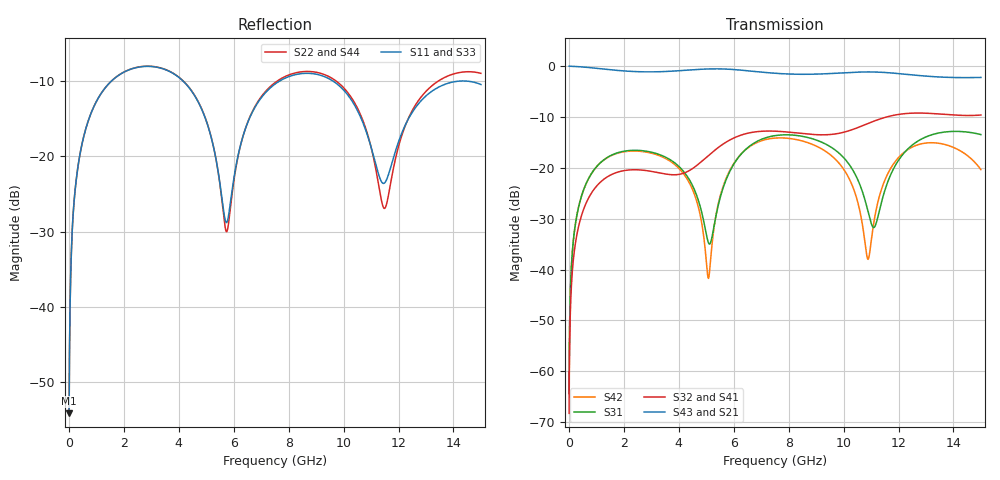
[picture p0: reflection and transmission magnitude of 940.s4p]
! Created with skrf 1.8.0 (http://scikit-rf.org).
# GHz S RI R 50.0
!freq ReS11 ImS11 ReS12 ImS12 ReS13 ImS13
! ReS14 ImS14
! ReS21 ImS21 ReS22 ImS22 ReS23 ImS23
! ReS24 ImS24
! ReS31 ImS31 ReS32 ImS32 ReS33 ImS33
! ReS34 ImS34
! ReS41 ImS41 ReS42 ImS42 ReS43 ImS43
! ReS44 ImS44
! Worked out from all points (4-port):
!   2499 points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, 5 MHz to 15 GHz, reference 50 ohm
!   strongest paths, dB at 5 MHz, 3.476 GHz, 7.19 GHz, 11.1 GHz, 15 GHz:
!     S43: 0.0, -1.1, -1.3, -1.2, -2.2
!     S21: 0.0, -1.1, -1.3, -1.2, -2.2
!     S32: -68.3, -21.2, -12.8, -10.8, -9.6
!     S41: -68.3, -21.2, -12.8, -10.8, -9.7
!     S31: -64.4, -17.8, -14.1, -31.8, -13.5
!     S42: -64.4, -18.1, -14.4, -30.9, -20.4
!   lowest |S11| = -54.1 dB at 5 MHz (marker M1), VSWR 1.00, Z = 50.2 + j0.12 ohm
!   |S11| at or under -10 dB: start of sweep to 1.545 GHz; 4.156 GHz to 7.664 GHz (3.508 GHz wide, 59.4 % of centre); 9.618 GHz to 14.2 GHz (4.579 GHz wide, 38.5 % of centre) (the widest 3 of 4)
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0.005  0.00157 0.0012  0.9984 -0.00305  7.77e-05 0.000598  -7.56e-05 -0.000378
       0.9984 -0.00305  0.00157 0.0012  -7.56e-05 -0.000378  7.76e-05 0.000598
       7.77e-05 0.000598  -7.56e-05 -0.000378  0.00157 0.00119  0.9984 -0.00305
       -7.56e-05 -0.000378  7.76e-05 0.000598  0.9984 -0.00305  0.00157 0.00119
0.3126303  0.0222 0.0789  0.9697 -0.1902  0.00993 0.0356  -0.00819 -0.0224
           0.9697 -0.1902  0.0223 0.0789  -0.0082 -0.0224  0.00965 0.0357
           0.00993 0.0356  -0.0082 -0.0224  0.0222 0.0789  0.9697 -0.1902
           -0.00819 -0.0224  0.00965 0.0357  0.9697 -0.1902  0.0223 0.0789
1.569404  0.2604 0.1846  0.5713 -0.7176  0.1205 0.0586  -0.0857 -0.01
          0.5713 -0.7176  0.2615 0.184  -0.0858 -0.00989  0.1169 0.0631
          0.1205 0.0586  -0.0858 -0.00989  0.2604 0.1847  0.5713 -0.7176
          -0.0857 -0.01  0.1169 0.0631  0.5713 -0.7176  0.2616 0.1839
5.558566  0.0379 -0.0395  -0.9264 -0.1488  -0.0103 0.0561  -0.0255 0.1654
          -0.9264 -0.1488  0.0331 -0.0413  -0.0233 0.1657  -0.00655 0.0587
          -0.0103 0.0561  -0.0233 0.1657  0.0376 -0.0402  -0.9264 -0.1488
          -0.0255 0.1654  -0.00655 0.0587  -0.9264 -0.1488  0.0335 -0.0417
8.959983  0.3496 -0.046  0.0344 0.8325  0.1537 -0.1107  0.196 -0.0748
          0.0344 0.8325  0.3583 -0.0592  0.1962 -0.0805  0.1528 -0.0641
          0.1537 -0.1107  0.1962 -0.0805  0.3486 -0.0425  0.0351 0.8325
          0.196 -0.0748  0.1528 -0.0641  0.0351 0.8325  0.3588 -0.0629
10.88579  0.0958 -0.0956  0.7713 0.4159  -0.028 -0.0252  0.1255 -0.2419
          0.7713 0.4159  0.0806 -0.112  0.1173 -0.246  -0.0123 -0.00283
          -0.028 -0.0252  0.1173 -0.246  0.0992 -0.0923  0.772 0.4146
          0.1255 -0.2419  -0.0123 -0.00283  0.772 0.4146  0.0761 -0.113
15  0.2967 -0.0464  -0.0797 -0.7718  0.0656 -0.2019  -0.321 0.0688
    -0.0797 -0.7718  0.3476 -0.0773  -0.3198 0.0832  0.0754 -0.0593
    0.0656 -0.2019  -0.3198 0.0832  0.3022 -0.0431  -0.0809 -0.7692
    -0.321 0.0688  0.0754 -0.0593  -0.0809 -0.7692  0.3547 -0.0811
